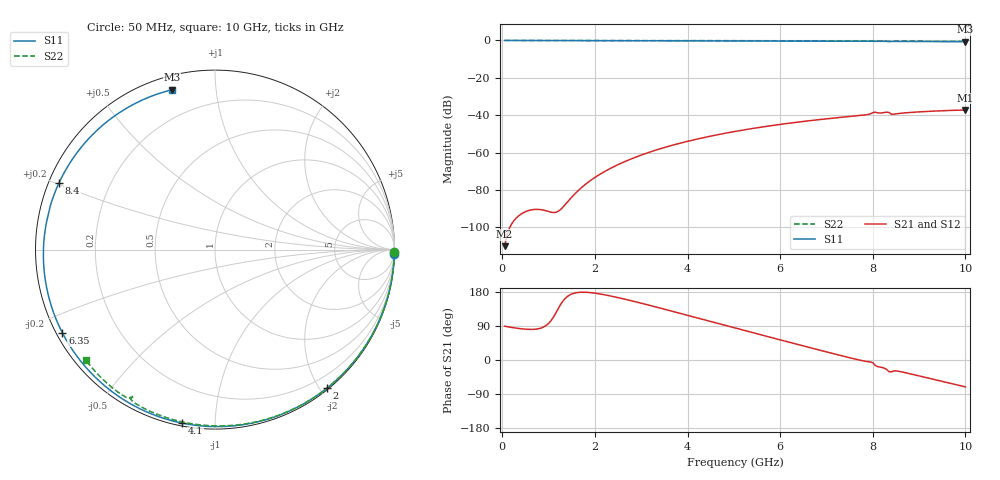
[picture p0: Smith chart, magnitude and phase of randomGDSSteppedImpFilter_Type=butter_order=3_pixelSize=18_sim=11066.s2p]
! freq	dB(S11)	phase(S11)	dB(S12)	phase(S12)
!  dB(S21)	phase(S21)	dB(S22)	phase(S22)
!S-par simulation data
#  GHz  S  DB  R 50
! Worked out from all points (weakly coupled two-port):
!   200 points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, 50 MHz to 10 GHz, reference 50 ohm
!   highest |S21| = -37.21 dB at 10 GHz (marker M1); lowest = -110.1 dB at 50 MHz (marker M2)
!   lowest |S11| = -0.7 dB at 10 GHz (marker M3), VSWR 24.67, Z = 3.22 + j38.2 ohm
!   |S11| at or under -10 dB: nowhere
!   |S22| runs from -0.6 to 0.0 dB; largest |S21 - S12| = 0
!   S11 on the Smith chart (normalised r, x): 50 MHz: 0, -87; 2 GHz: 0.02, -2.09; 4.1 GHz: 0.01, -0.83; 6.35 GHz: 0.02, -0.25; 8.4 GHz: 0.03, +0.20; 10 GHz: 0.06, +0.76
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0.05  -0.00 -1.3  -110.11 89.2  -110.11 89.2  -0.00 -0.8
0.8  -0.03 -20.8  -90.47 83.0  -90.47 83.0  -0.02 -12.9
1.65  -0.05 -42.3  -80.10 178.5  -80.10 178.5  -0.03 -26.3
1.75  -0.06 -44.8  -77.92 179.0  -77.92 179.0  -0.04 -27.9
2  -0.07 -51.0  -73.32 176.4  -73.32 176.4  -0.04 -31.8
2.6  -0.08 -65.7  -65.33 161.8  -65.33 161.8  -0.05 -41.0
3.4  -0.11 -84.6  -58.04 137.3  -58.04 137.3  -0.07 -53.1
4.1  -0.14 -100.6  -53.40 114.6  -53.40 114.6  -0.09 -63.3
5.05  -0.19 -122.0  -48.60 83.8  -48.60 83.8  -0.12 -76.7
5.7  -0.23 -136.6  -45.99 62.8  -45.99 62.8  -0.14 -85.5
6.35  -0.28 -151.4  -43.80 41.9  -43.80 41.9  -0.17 -94.2
6.7  -0.31 -159.5  -42.77 30.8  -42.77 30.8  -0.19 -98.7
7.55  -0.39 179.7  -40.58 4.5  -40.58 4.5  -0.25 -109.6
7.9  -0.44 170.6  -39.60 -4.6  -39.60 -4.6  -0.27 -114.1
8.05  -0.45 166.7  -38.35 -13.9  -38.35 -13.9  -0.30 -116.0
8.15  -0.46 163.9  -38.85 -18.5  -38.85 -18.5  -0.31 -117.4
8.35  -0.48 158.3  -38.57 -31.0  -38.57 -31.0  -0.59 -119.8
8.4  -0.49 156.9  -39.46 -31.3  -39.46 -31.3  -0.51 -119.1
8.8  -0.54 145.2  -38.56 -36.2  -38.56 -36.2  -0.35 -124.7
9.2  -0.59 132.7  -37.96 -47.9  -37.96 -47.9  -0.39 -129.6
9.6  -0.65 119.3  -37.52 -59.6  -37.52 -59.6  -0.43 -134.5
10  -0.70 105.0  -37.21 -70.9  -37.21 -70.9  -0.47 -139.4
